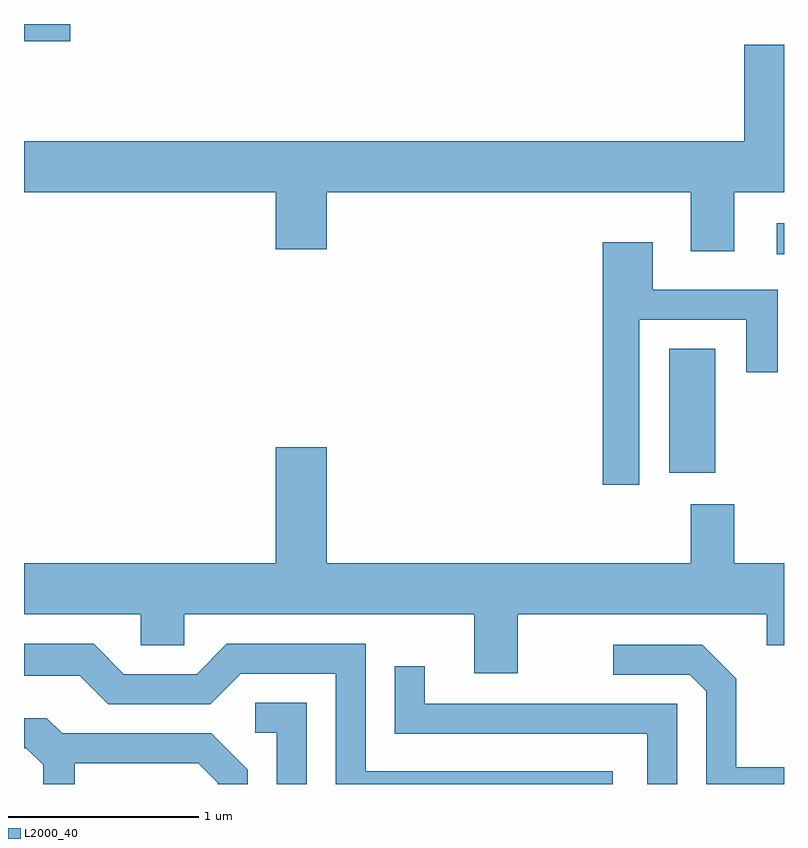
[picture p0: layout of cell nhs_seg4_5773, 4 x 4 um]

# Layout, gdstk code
import gdstk
lib = gdstk.Library(unit=1e-6, precision=1e-09)
def R(c, l, rs):  # rectangles x0, y0, x1, y1
    for r in rs: c.add(gdstk.rectangle(r[:2], r[2:], *l))
def P(c, l, *ps):  # polygons
    for p in ps: c.add(gdstk.Polygon(p, *l))
L2000_40 = (2000, 40)

nhs_seg4_5773 = lib.new_cell('nhs_seg4_5773')
R(nhs_seg4_5773, L2000_40, [(357.006,1377.621,357.249,1378.274), (357.573,1378.771,357.611,1378.934), (353.611,1379.891,353.854,1379.982)])
P(nhs_seg4_5773, L2000_40, [(357.349,1379.096),(357.611,1379.096),(357.611,1379.874),(357.401,1379.874),(357.401,1379.364),(353.611,1379.364),(353.611,1379.096),(354.936,1379.096),(354.936,1378.796),(355.204,1378.796),(355.204,1379.096),(357.121,1379.096),(357.121,1378.786),(357.349,1378.786)],
  [(356.849,1378.426),(357.411,1378.426),(357.411,1378.148),(357.579,1378.148),(357.579,1378.584),(356.919,1378.584),(356.919,1378.834),(356.656,1378.834),(356.656,1377.556),(356.849,1377.556)],
  [(356.209,1376.876),(357.521,1376.876),(357.521,1376.711),(357.611,1376.711),(357.611,1377.144),(357.349,1377.144),(357.349,1377.454),(357.121,1377.454),(357.121,1377.144),(355.204,1377.144),(355.204,1377.754),(354.936,1377.754),(354.936,1377.144),(353.611,1377.144),(353.611,1376.876),(354.226,1376.876),(354.226,1376.711),(354.454,1376.711),(354.454,1376.876),(355.981,1376.876),(355.981,1376.566),(356.209,1376.566)],
  [(356.709,1376.049),(355.409,1376.049),(355.409,1376.719),(354.679,1376.719),(354.519,1376.559),(354.137,1376.559),(353.977,1376.719),(353.611,1376.719),(353.611,1376.551),(353.904,1376.551),(354.054,1376.401),(354.592,1376.401),(354.752,1376.561),(355.251,1376.561),(355.251,1375.982),(356.709,1375.982)],
  [(357.611,1376.069),(357.359,1376.069),(357.359,1376.537),(357.182,1376.714),(356.713,1376.714),(356.713,1376.556),(357.114,1376.556),(357.201,1376.469),(357.201,1375.982),(357.611,1375.982)],
  [(357.049,1376.404),(355.719,1376.404),(355.719,1376.603),(355.561,1376.603),(355.561,1376.246),(356.891,1376.246),(356.891,1375.982),(357.049,1375.982)],
  [(355.099,1376.409),(354.828,1376.409),(354.828,1376.251),(354.941,1376.251),(354.941,1375.982),(355.099,1375.982)],
  [(353.879,1376.091),(354.529,1376.091),(354.631,1375.989),(354.631,1375.982),(354.789,1375.982),(354.789,1376.057),(354.597,1376.249),(353.812,1376.249),(353.732,1376.329),(353.611,1376.329),(353.611,1376.171),(353.624,1376.171),(353.711,1376.084),(353.711,1375.982),(353.879,1375.982)])

lib.write_gds('nhs_seg4_5773.gds')
